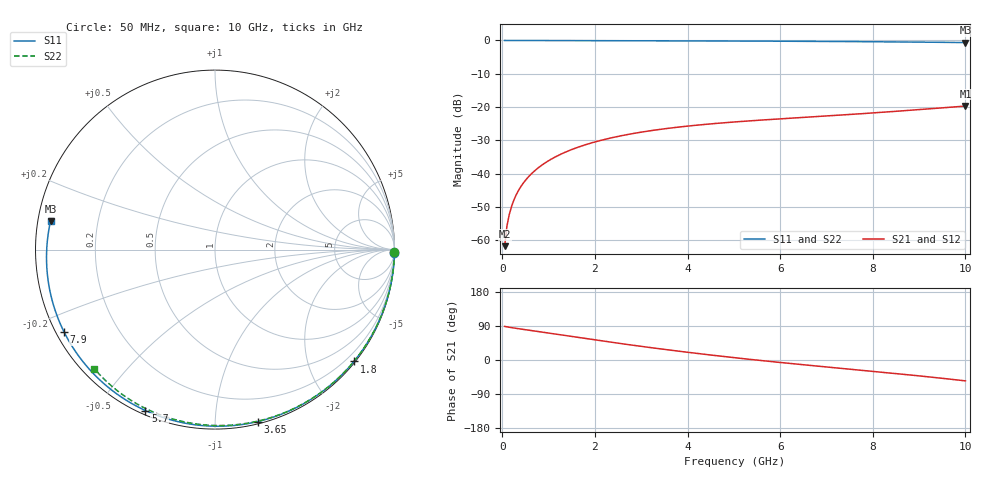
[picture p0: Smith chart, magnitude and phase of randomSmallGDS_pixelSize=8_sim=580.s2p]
! freq	dB(S11)	phase(S11)	dB(S12)	phase(S12)
!  dB(S21)	phase(S21)	dB(S22)	phase(S22)
!S-par simulation data
#  GHz  S  DB  R 50
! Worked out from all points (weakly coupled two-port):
!   200 points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, 50 MHz to 10 GHz, reference 50 ohm
!   highest |S21| = -19.69 dB at 10 GHz (marker M1); lowest = -61.7 dB at 50 MHz (marker M2)
!   lowest |S11| = -0.6 dB at 10 GHz (marker M3), VSWR 27.54, Z = 1.83 + j4.28 ohm
!   |S11| at or under -10 dB: nowhere
!   |S22| runs from -0.5 to 0.0 dB; largest |S21 - S12| = 0
!   S11 on the Smith chart (normalised r, x): 50 MHz: open; 1.8 GHz: 0.03, -2.84; 3.65 GHz: 0.02, -1.28; 5.7 GHz: 0.02, -0.66; 7.9 GHz: 0.02, -0.26; 10 GHz: 0.04, +0.09
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0.05  -0.00 -1.1  -61.74 88.7  -61.74 88.7  -0.00 -0.8
0.1  -0.00 -2.2  -55.75 87.5  -55.75 87.5  -0.00 -1.6
0.15  -0.00 -3.3  -52.26 86.4  -52.26 86.4  -0.00 -2.4
0.2  -0.00 -4.4  -49.80 85.4  -49.80 85.4  -0.00 -3.2
0.35  -0.01 -7.7  -45.02 82.6  -45.02 82.6  -0.00 -5.6
0.5  -0.01 -11.0  -41.97 80.0  -41.97 80.0  -0.01 -8.0
0.7  -0.02 -15.3  -39.10 76.3  -39.10 76.3  -0.01 -11.1
1  -0.03 -21.8  -36.08 70.9  -36.08 70.9  -0.02 -15.8
1.35  -0.04 -29.3  -33.59 64.5  -33.59 64.5  -0.03 -21.3
1.75  -0.05 -37.8  -31.50 57.4  -31.50 57.4  -0.04 -27.4
1.8  -0.05 -38.8  -31.28 56.5  -31.28 56.5  -0.04 -28.2
2.6  -0.08 -55.3  -28.51 42.6  -28.51 42.6  -0.06 -40.3
3.4  -0.10 -71.1  -26.69 29.6  -26.69 29.6  -0.08 -52.1
3.65  -0.11 -76.0  -26.25 25.7  -26.25 25.7  -0.08 -55.6
4.35  -0.14 -89.1  -25.22 15.3  -25.22 15.3  -0.10 -65.5
5.05  -0.17 -101.9  -24.42 5.6  -24.42 5.6  -0.13 -75.0
5.7  -0.20 -113.4  -23.79 -2.8  -23.79 -2.8  -0.15 -83.6
6.7  -0.27 -130.7  -22.92 -14.9  -22.92 -14.9  -0.20 -96.4
7.9  -0.37 -151.3  -21.85 -28.7  -21.85 -28.7  -0.28 -110.9
8.35  -0.42 -159.2  -21.41 -34.0  -21.41 -34.0  -0.32 -116.3
9.2  -0.52 -174.5  -20.54 -44.4  -20.54 -44.4  -0.40 -126.1
10  -0.63 170.2  -19.69 -55.0  -19.69 -55.0  -0.50 -135.3
